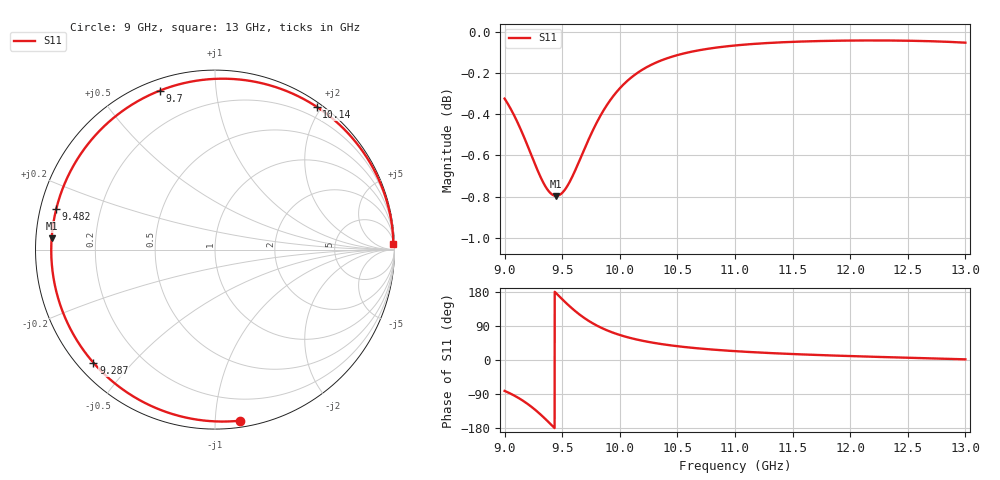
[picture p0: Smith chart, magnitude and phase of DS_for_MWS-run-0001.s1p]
! TOUCHSTONE file generated by CST DESIGN STUDIO
! Date and time: Tue Feb  4 18:46:34 2025
! Project name: C:\Work\MatlabApps\UnitCellOptimizationMatlab\CST\unitcell.cst
! Tree item: Tasks\Sweep1\SPara1\S-Parameters
! Header version: 2024
! Port assignment regex: !\s*Touchstone port\s*([0-9]+)\s*=\s*(CST MWS port|CST DES external port|CST DES block port)\s*(.+)\s* \(\"(.*)\"\)(\s*mode\s*([0-9]+))?.*
! Touchstone port assignment:
! Touchstone port 1 = CST DES external port 1 ("")
# GHz S MA R 50
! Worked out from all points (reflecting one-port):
!   4001 points, 9 GHz to 13 GHz, reference 50 ohm
!   lowest |S11| = -0.8 dB at 9.448 GHz (marker M1), VSWR 21.81, Z = 2.29 + j1.74 ohm
!   phase of S11 starts at -82 deg and turns -277 deg over the sweep
!   S11 on the Smith chart (normalised r, x): 9 GHz: 0.04, -1.16; 9.287 GHz: 0.04, -0.39; 9.482 GHz: 0.05, +0.13; 9.7 GHz: 0.05, +0.71; 10.14 GHz: 0.06, +1.94; 13 GHz: 12, +63
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9  0.9634 -81.5
9.088  0.9537 -94.5
9.16  0.9441 -107.6
9.225  0.9345 -121.6
9.287  0.9254 -137.0
9.333  0.9195 -149.6
9.373  0.9155 -161.3
9.411  0.9131 -172.7
9.448  0.9123 176.0
9.482  0.913 165.7
9.5  0.9139 160.3
9.552  0.9181 145.3
9.6  0.9238 132.4
9.649  0.9304 120.3
9.7  0.9376 109.2
9.758  0.9454 98.0
9.823  0.9532 87.4
9.909  0.9618 75.8
10  0.969 66.0
10.139  0.9767 54.6
10.302  0.9826 44.9
10.5  0.9871 36.4
10.723  0.9902 29.5
11  0.9925 23.3
11.5  0.9945 15.7
12  0.9952 10.4
12.5  0.9951 6.0
13  0.994 1.7
